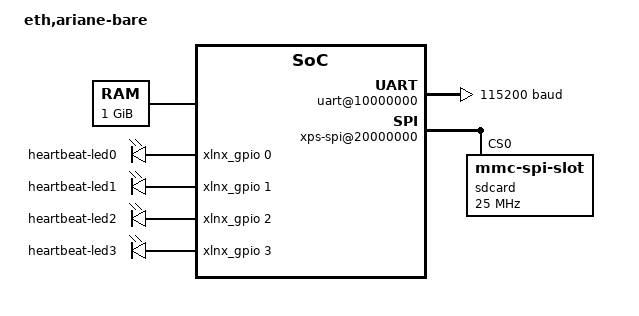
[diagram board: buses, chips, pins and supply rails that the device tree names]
/dts-v1/;

#include <dt-bindings/gpio/gpio.h>

/ {
  #address-cells = <2>;
  #size-cells = <2>;
  compatible = "eth,ariane-bare-dev";
  model = "eth,ariane-bare";
  chosen {
    stdout-path = "/soc/uart@10000000:115200";
  };
  clk75: clk75 {
      compatible = "fixed-clock";
      #clock-cells = <0>;
      clock-frequency = <75000000>;
  };
  cpus {
    #address-cells = <1>;
    #size-cells = <0>;
    timebase-frequency = <37500000>; // 37.5 MHz
    CPU0: cpu@0 {
      clock-frequency = <75000000>; // 75 MHz
      device_type = "cpu";
      reg = <0>;
      status = "okay";
      compatible = "eth, ariane", "riscv";
      riscv,isa = "rv64imafdch_zicbom";
      mmu-type = "riscv,sv39";
      tlb-split;
      d-cache-block-size = <128>;
      riscv,cbom-block-size = <128>;
      // HLIC - hart local interrupt controller
      CPU0_intc: interrupt-controller {
        #interrupt-cells = <1>;
        interrupt-controller;
        compatible = "riscv,cpu-intc";
      };
    };
    CPU1: cpu@1 {
      clock-frequency = <75000000>; // 75 MHz
      device_type = "cpu";
      reg = <1>;
      status = "okay";
      compatible = "eth, ariane", "riscv";
      riscv,isa = "rv64imafdch_zicbom";
      mmu-type = "riscv,sv39";
      tlb-split;
      d-cache-block-size = <128>;
      riscv,cbom-block-size = <128>;
      // HLIC - hart local interrupt controller
      CPU1_intc: interrupt-controller {
        #interrupt-cells = <1>;
        interrupt-controller;
        compatible = "riscv,cpu-intc";
      };
    };
  };
  memory@80000000 {
    device_type = "memory";
    reg = <0x0 0x80000000 0x0 0x40000000>;
  };
  leds {
    compatible = "gpio-leds";
    heartbeat-led0 {
      gpios = <&xlnx_gpio 0 GPIO_ACTIVE_HIGH>;
      linux,default-trigger = "panic";
      retain-state-suspended;
    };
    heartbeat-led1 {
      gpios = <&xlnx_gpio 1 GPIO_ACTIVE_HIGH>;
      linux,default-trigger = "panic";
      retain-state-suspended;
    };
    heartbeat-led2 {
      gpios = <&xlnx_gpio 2 GPIO_ACTIVE_HIGH>;
      linux,default-trigger = "panic";
      retain-state-suspended;
    };
    heartbeat-led3 {
      gpios = <&xlnx_gpio 3 GPIO_ACTIVE_HIGH>;
      linux,default-trigger = "panic";
      retain-state-suspended;
    };
  };
  L26: soc {
    #address-cells = <2>;
    #size-cells = <2>;
    compatible = "eth,ariane-bare-soc", "simple-bus";
    ranges;
    dma-noncoherent;
    clint@2000000 {
      compatible = "riscv,clint0";
      interrupts-extended = <&CPU0_intc 3 &CPU0_intc 7 &CPU1_intc 3 &CPU1_intc 7>;
      reg = <0x0 0x2000000 0x0 0xc0000>;
      reg-names = "control";
    };
    PLIC0: interrupt-controller@c000000 {
      #address-cells = <0>;
      #interrupt-cells = <1>;
      compatible = "riscv,plic0";
      interrupt-controller;
      interrupts-extended = <&CPU0_intc 11 &CPU0_intc 9 &CPU1_intc 11 &CPU1_intc 9>;
      reg = <0x0 0xc000000 0x0 0x4000000>;
      riscv,max-priority = <7>;
      riscv,ndev = <30>;
    };
    // Specifying the interrupt controller in the devicetree is not necessary.
    // Furthermore, the IRQ 65535 will cause a `hwirq 0xffff is too large` during
    // Linux boot (occured with mainline linux 5.14.0).
    //  debug-controller@0 {
    //    compatible = "riscv,debug-013";
    //    interrupts-extended = <&CPU0_intc 65535>;
    //    reg = <0x0 0x0 0x0 0x1000>;
    //    reg-names = "control";
    //  };
    uart@10000000 {
      compatible = "xlnx,axi-uart16550-1.01.a", "xlnx,xps-uart16550-2.00.a", "ns16550a";
      reg = <0x0 0x10000000 0x0 0x10000>;
      clock-frequency = <75000000>; // 75 MHz
      current-speed = <115200>;
      interrupt-parent = <&PLIC0>;
      interrupts = <1>;
      reg-shift = <2>; // regs are spaced on 32 bit boundary
      reg-io-width = <4>; // only 32-bit access are supported
    };
    timer@18000000 {
      compatible = "pulp,apb_timer";
      interrupts = <4 5 6 7>;
      reg = <0x00000000 0x18000000 0x00000000 0x00001000>;
      interrupt-parent = <&PLIC0>;
      reg-names = "control";
    };
    xps-spi@20000000 {
      compatible = "xlnx,xps-spi-2.00.b", "xlnx,xps-spi-2.00.a";
      #address-cells = <1>;
      #size-cells = <0>;
      interrupt-parent = <&PLIC0>;
      interrupts = <2>;
      reg = < 0x0 0x20000000 0x0 0x1000 >;
      xlnx,family = "zynq7";
      xlnx,fifo-exist = <0x1>;
      xlnx,num-ss-bits = <0x1>;
      xlnx,num-transfer-bits = <0x8>;
      xlnx,sck-ratio = <0x4>;

      sdcard@0 {
        compatible = "mmc-spi-slot";
        reg = <0>;
        spi-max-frequency = <25000000>;
        voltage-ranges = <3300 3300>;
        disable-wp;
      };
    };
    xlnx_gpio: gpio@40000000 {
      #gpio-cells = <2>;
      compatible = "xlnx,xps-gpio-1.00.a";
      gpio-controller;
      reg = <0x0 0x40000000 0x0 0x10000>;
      xlnx,all-inputs = <0x0>;
      xlnx,all-outputs = <0x1>;
      xlnx,dout-default = <0x0>;
      xlnx,gpio-width = <0x4>;
      xlnx,interrupt-present = <0x0>;
      xlnx,is-dual = <0x0>;
      xlnx,tri-default = <0xffffffff>;
    };
  };
};
